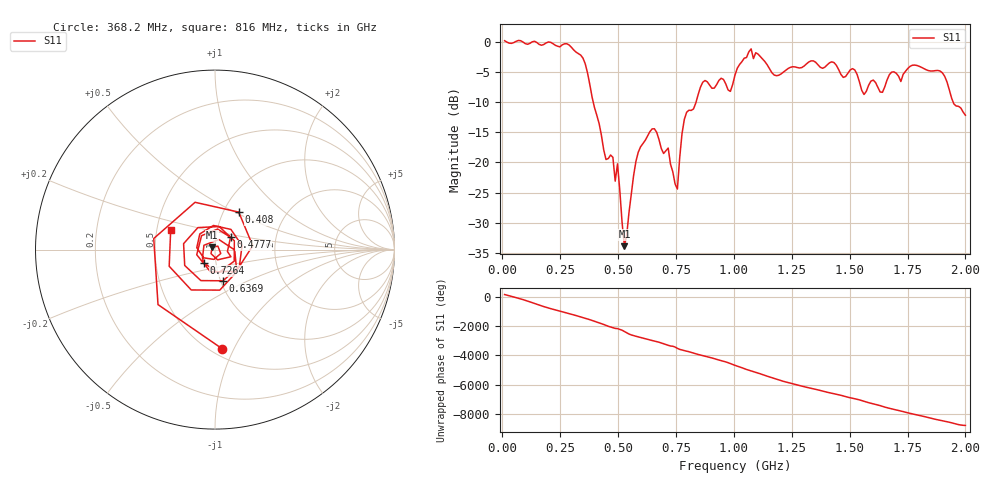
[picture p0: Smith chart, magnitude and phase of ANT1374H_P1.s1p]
!Created with skrf (http://scikit-rf.org).
# Hz S RI R 50.0
!freq ReS11 ImS11
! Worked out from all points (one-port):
!   201 points, 10 MHz to 2 GHz, reference 50 ohm
!   lowest |S11| = -33.9 dB at 527.4 MHz (marker M1), VSWR 1.04, Z = 48.5 + j1.3 ohm
!   |S11| at or under -10 dB: 392.9 MHz to 836.6 MHz (443.8 MHz wide, 72.2 % of centre); 1.947 GHz to end of sweep
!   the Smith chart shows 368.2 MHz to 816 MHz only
!   S11 on the Smith chart (normalised r, x): 368.2 MHz: 0.57, -0.90; 408 MHz: 1.18, +0.52; 477.6 MHz: 1.18, +0.16; 636.9 MHz: 1.03, -0.37; 726.4 MHz: 0.87, -0.13; 816 MHz: 0.59, +0.14
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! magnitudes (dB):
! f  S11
! 10 MHz  0.2
! 258.8 MHz  -0.5
! 368.2 MHz  -5.1
! 408 MHz  -12.1
! 447.8 MHz  -19.5
! 477.6 MHz  -19.1
! 487.6 MHz  -23.1
! 497.6 MHz  -20.2
! 507.5 MHz  -24.6
! 527.4 MHz  -33.9
! 577.1 MHz  -19.8
! 636.9 MHz  -14.9
! 716.5 MHz  -17.6
! 726.4 MHz  -20.3
! 756.2 MHz  -24.4
! 786.1 MHz  -12.9
! 816 MHz  -11.4
! 865.7 MHz  -6.7
! 985.1 MHz  -8.2
! 1.005 GHz  -5.5
! 1.075 GHz  -1.1
! 1.174 GHz  -5.5
! 1.254 GHz  -4.1
! 1.502 GHz  -4.6
! 1.562 GHz  -8.7
! 1.751 GHz  -4.4
! 1.901 GHz  -5.1
! 2 GHz  -12.2
